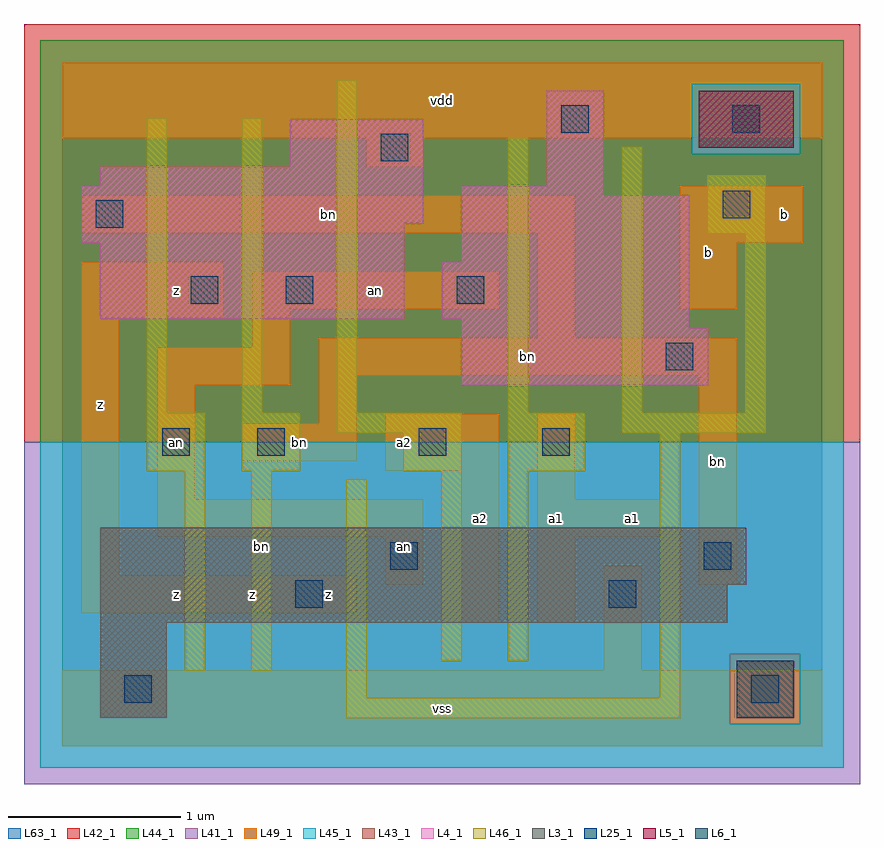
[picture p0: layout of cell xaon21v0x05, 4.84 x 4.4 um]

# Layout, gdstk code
import gdstk
lib = gdstk.Library(unit=1e-6, precision=1e-09)
def R(c, l, rs):  # rectangles x0, y0, x1, y1
    for r in rs: c.add(gdstk.rectangle(r[:2], r[2:], *l))
L3_1 = (3, 1)
L4_1 = (4, 1)
L5_1 = (5, 1)
L6_1 = (6, 1)
L25_1 = (25, 1)
L41_1 = (41, 1)
L42_1 = (42, 1)
L43_1 = (43, 1)
L44_1 = (44, 1)
L45_1 = (45, 1)
L46_1 = (46, 1)
L49_1 = (49, 1)
L63_1 = (63, 1)

xaon21v0x05 = lib.new_cell('xaon21v0x05')
R(xaon21v0x05, L3_1, [(0.22,0.165,0.605,0.715), (0.22,0.715,3.85,0.935), (0.22,0.935,3.96,1.265)])
R(xaon21v0x05, L4_1, [(2.31,2.09,3.74,2.42), (2.31,2.42,3.63,2.475), (0.22,2.475,1.98,2.915), (2.2,2.475,3.63,2.805), (2.31,2.805,3.63,3.19), (0.11,2.915,1.98,3.025), (0.11,3.025,2.09,3.245), (2.31,3.19,3.135,3.245), (0.22,3.245,2.09,3.355), (2.805,3.245,3.135,3.795), (1.32,3.355,2.09,3.63)])
R(xaon21v0x05, L5_1, [(3.685,3.465,4.235,3.795)])
R(xaon21v0x05, L6_1, [(3.905,0.165,4.235,0.495)])
R(xaon21v0x05, L25_1, [(0.36,0.25,0.52,0.41), (3.99,0.25,4.15,0.41), (1.35,0.8,1.51,0.96), (3.165,0.8,3.325,0.96), (1.9,1.02,2.06,1.18), (3.715,1.02,3.875,1.18), (0.58,1.68,0.74,1.84), (1.13,1.68,1.29,1.84), (2.065,1.68,2.225,1.84), (2.78,1.68,2.94,1.84), (3.495,2.175,3.655,2.335), (0.745,2.56,0.905,2.72), (1.295,2.56,1.455,2.72), (2.285,2.56,2.445,2.72), (0.195,3,0.355,3.16), (3.825,3.055,3.985,3.215), (1.845,3.385,2.005,3.545), (2.89,3.55,3.05,3.71), (3.88,3.55,4.04,3.71)])
R(xaon21v0x05, L41_1, [(-0.22,-0.22,4.62,1.76)])
R(xaon21v0x05, L42_1, [(-0.22,1.76,4.62,4.18)])
R(xaon21v0x05, L43_1, [(0.22,0.165,0.605,0.715), (3.905,0.165,4.235,0.495), (0.22,0.715,3.85,0.935), (0.22,0.935,3.96,1.265), (2.31,2.09,3.74,2.42), (2.31,2.42,3.63,2.475), (0.22,2.475,1.98,2.915), (2.2,2.475,3.63,2.805), (2.31,2.805,3.63,3.19), (0.11,2.915,1.98,3.025), (0.11,3.025,2.09,3.245), (2.31,3.19,3.135,3.245), (0.22,3.245,2.09,3.355), (2.805,3.245,3.135,3.795), (1.32,3.355,2.09,3.63), (3.685,3.465,4.235,3.795)])
R(xaon21v0x05, L44_1, [(3.865,0.125,4.275,0.535), (-0.125,1.76,4.525,3.425), (-0.125,3.425,3.645,3.835), (4.275,3.425,4.525,3.835), (-0.125,3.835,4.525,4.085)])
R(xaon21v0x05, L45_1, [(-0.125,-0.125,4.525,0.125), (-0.125,0.125,3.865,0.535), (4.275,0.125,4.525,0.535), (-0.125,0.535,4.525,1.76), (3.645,3.425,4.275,3.835)])
R(xaon21v0x05, L46_1, [(1.645,0.16,3.58,0.28), (1.645,0.28,1.765,1.545), (3.46,0.28,3.58,1.81), (0.71,0.435,0.83,1.59), (1.095,0.435,1.215,1.59), (2.195,0.49,2.315,1.59), (2.58,0.49,2.7,1.59), (0.49,1.59,0.83,1.93), (1.04,1.59,1.38,1.93), (1.975,1.59,2.315,1.81), (2.58,1.59,3.03,1.93), (1.59,1.81,2.315,1.93), (3.24,1.81,4.075,1.93), (0.49,1.93,0.61,3.635), (1.04,1.93,1.16,3.635), (1.59,1.93,1.71,3.855), (2.58,1.93,2.7,3.525), (3.24,1.93,3.36,3.47), (3.955,1.93,4.075,2.965), (3.735,2.965,4.075,3.305)])
R(xaon21v0x05, L49_1, [(0,0,4.4,0.44), (3.135,0.44,3.355,1.045), (2.31,0.715,2.53,1.595), (2.75,0.715,2.97,1.21), (0.11,0.77,1.705,0.99), (1.87,0.935,2.09,1.21), (3.685,0.935,3.905,2.145), (0.11,0.99,0.33,2.475), (0.55,1.21,2.09,1.43), (2.75,1.21,3.465,1.43), (0.55,1.43,0.77,2.09), (2.75,1.43,2.97,1.925), (1.87,1.595,2.53,1.925), (1.045,1.65,1.705,1.87), (1.485,1.87,1.705,2.145), (0.55,2.09,1.32,2.31), (1.485,2.145,3.905,2.365), (1.1,2.31,1.32,2.53), (2.75,2.365,2.97,2.97), (0.11,2.475,0.935,2.805), (1.1,2.53,2.53,2.75), (3.575,2.53,3.905,2.915), (3.575,2.915,4.29,3.245), (0.11,2.97,2.97,3.19), (1.76,3.355,2.09,3.52), (0,3.52,4.4,3.96)])
R(xaon21v0x05, L63_1, [(0,0,4.4,3.96)])
xaon21v0x05.add(gdstk.Label('bn', (1.155,1.155), layer=46, texttype=1))
xaon21v0x05.add(gdstk.Label('an', (0.66,1.76), layer=49, texttype=1))
xaon21v0x05.add(gdstk.Label('z', (0.66,0.88), layer=49, texttype=1))
xaon21v0x05.add(gdstk.Label('z', (0.22,1.98), layer=49, texttype=1))
xaon21v0x05.add(gdstk.Label('an', (0.66,1.76), layer=49, texttype=1))
xaon21v0x05.add(gdstk.Label('z', (0.66,2.64), layer=49, texttype=1))
xaon21v0x05.add(gdstk.Label('z', (1.54,0.88), layer=49, texttype=1))
xaon21v0x05.add(gdstk.Label('an', (1.98,1.155), layer=49, texttype=1))
xaon21v0x05.add(gdstk.Label('z', (1.1,0.88), layer=49, texttype=1))
xaon21v0x05.add(gdstk.Label('bn', (1.375,1.76), layer=49, texttype=1))
xaon21v0x05.add(gdstk.Label('a2', (1.98,1.76), layer=49, texttype=1))
xaon21v0x05.add(gdstk.Label('vss', (2.2,0.22), layer=49, texttype=1))
xaon21v0x05.add(gdstk.Label('a2', (2.42,1.32), layer=49, texttype=1))
xaon21v0x05.add(gdstk.Label('a1', (2.86,1.32), layer=49, texttype=1))
xaon21v0x05.add(gdstk.Label('an', (1.815,2.64), layer=49, texttype=1))
xaon21v0x05.add(gdstk.Label('bn', (1.54,3.08), layer=49, texttype=1))
xaon21v0x05.add(gdstk.Label('vdd', (2.2,3.74), layer=49, texttype=1))
xaon21v0x05.add(gdstk.Label('a1', (3.3,1.32), layer=49, texttype=1))
xaon21v0x05.add(gdstk.Label('bn', (3.795,1.65), layer=49, texttype=1))
xaon21v0x05.add(gdstk.Label('bn', (2.695,2.255), layer=49, texttype=1))
xaon21v0x05.add(gdstk.Label('b', (3.74,2.86), layer=49, texttype=1))
xaon21v0x05.add(gdstk.Label('b', (4.18,3.08), layer=49, texttype=1))

lib.write_gds('xaon21v0x05.gds')
